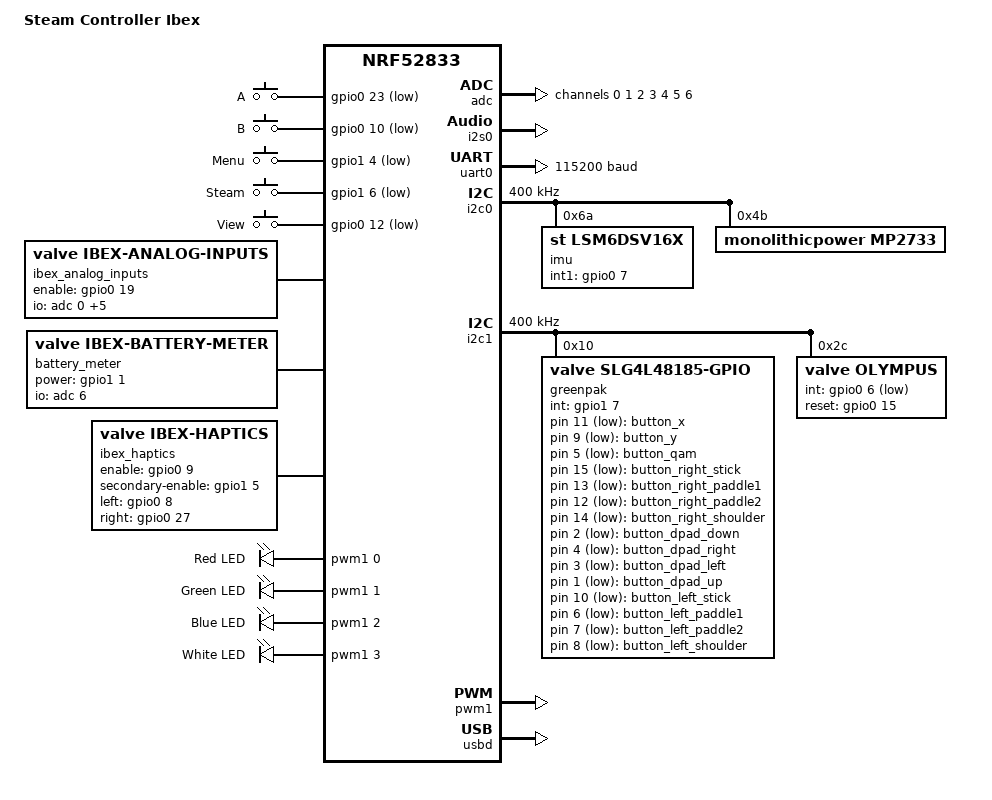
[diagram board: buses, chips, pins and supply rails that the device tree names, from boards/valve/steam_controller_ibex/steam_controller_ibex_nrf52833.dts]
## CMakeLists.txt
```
# SPDX-License-Identifier: AGPL-3.0-or-later

cmake_minimum_required(VERSION 3.20.0)

list(APPEND BOARD_ROOT ${CMAKE_CURRENT_SOURCE_DIR})

find_package(Zephyr REQUIRED HINTS $ENV{ZEPHYR_BASE})
project(steam_controller)

target_sources(app PRIVATE
	src/battery.c
	src/calibration.c
	src/charge_mode.c
	src/hardware.c
	src/haptics.c
	src/ibex_settings_registry.c
	src/imu.c
	src/lizard.c
	src/main.c
	src/boot_guard.c
	src/power.c
	src/puck_interface.c
	src/radio_personality.c
	src/transport.c
	src/valve_feature.c
	src/valve_hid_report_map.c
	src/valve_identity.c
	src/valve_settings.c
	src/sc26re_cfg.c
	src/gyro_mouse.c
	src/remap.c
	src/xinput.c
	src/xinput_guide.c
	src/stick_test.c
)

target_sources_ifdef(CONFIG_IBEX_HWTEST app PRIVATE src/hwtest.c)
target_sources_ifdef(CONFIG_HAPTICS_PWM_NRF app PRIVATE src/haptics_pwm_nrf.c)
if(CONFIG_IBEX_HAPTICS_PWM)
	set(IBEX_HAPTICS_WAVEFORMS_H ${PROJECT_BINARY_DIR}/generated/haptics_waveforms.h)

	add_custom_command(
		OUTPUT ${IBEX_HAPTICS_WAVEFORMS_H}
		COMMAND ${PYTHON_EXECUTABLE}
			${CMAKE_CURRENT_SOURCE_DIR}/../scripts/haptics-wav-to-header.py
			--output ${IBEX_HAPTICS_WAVEFORMS_H}
			--input haptics_waveform_tick=${CMAKE_CURRENT_SOURCE_DIR}/assets/haptics/tick.wav
			--input haptics_waveform_click=${CMAKE_CURRENT_SOURCE_DIR}/assets/haptics/click.wav
			--input haptics_waveform_scream=${CMAKE_CURRENT_SOURCE_DIR}/assets/haptics/scream.wav
			--input haptics_waveform_meow=${CMAKE_CURRENT_SOURCE_DIR}/assets/haptics/meow.wav
		DEPENDS
			${CMAKE_CURRENT_SOURCE_DIR}/../scripts/haptics-wav-to-header.py
			${CMAKE_CURRENT_SOURCE_DIR}/assets/haptics/tick.wav
			${CMAKE_CURRENT_SOURCE_DIR}/assets/haptics/click.wav
			${CMAKE_CURRENT_SOURCE_DIR}/assets/haptics/scream.wav
			${CMAKE_CURRENT_SOURCE_DIR}/assets/haptics/meow.wav
		COMMENT "Generating Ibex haptics waveform header"
		VERBATIM
	)
	add_custom_target(ibex_haptics_waveforms DEPENDS ${IBEX_HAPTICS_WAVEFORMS_H})
	add_dependencies(app ibex_haptics_waveforms)
	target_include_directories(app PRIVATE ${PROJECT_BINARY_DIR}/generated)
	target_sources(app PRIVATE src/haptics_pwm_ibex.c)
endif()
target_sources_ifdef(CONFIG_IBEX_ANALOG_INPUTS app PRIVATE src/analog.c)
target_sources_ifdef(CONFIG_IBEX_OLYMPUS app PRIVATE src/olympus.c)
target_sources_ifdef(CONFIG_SHELL app PRIVATE src/shell.c)
target_sources_ifdef(CONFIG_IBEX_SHELL_ZMODEM app PRIVATE src/zmodem.c src/shell_zmodem.c)
target_sources_ifdef(CONFIG_IBEX_BLE app PRIVATE src/transport_ble.c)
target_sources_ifdef(CONFIG_IBEX_USB_HID app PRIVATE src/transport_usb.c)
target_sources_ifdef(CONFIG_IBEX_ESB app PRIVATE src/transport_esb.c)
target_sources_ifdef(CONFIG_IBEX_ESB app PRIVATE src/esb_backend_direct.c)
target_sources_ifdef(CONFIG_IBEX_RGBW_LED app PRIVATE src/rgbw_led.c)
target_sources_ifdef(CONFIG_GPIO_GREENPAK app PRIVATE drivers/gpio/gpio_greenpak.c)
target_sources_ifdef(CONFIG_BOARD_STEAM_CONTROLLER_IBEX app PRIVATE src/valve_nvs.c)

# release name for update checks (the SC2 Overlay app): the newest docs/releases/vX.md
file(GLOB SC26RE_RELEASE_NOTES "${CMAKE_CURRENT_SOURCE_DIR}/../docs/releases/v*.md")
set(SC26RE_RELEASE "v0")
set(SC26RE_RELEASE_KEY 0)
foreach(f ${SC26RE_RELEASE_NOTES})
	get_filename_component(n "${f}" NAME_WLE)
	if(n MATCHES "^v([0-9]+)(\\.([0-9]+))?(\\.([0-9]+))?$")
		set(minor 0)
		set(patch 0)
		if(CMAKE_MATCH_3)
			set(minor ${CMAKE_MATCH_3})
		endif()
		if(CMAKE_MATCH_5)
			set(patch ${CMAKE_MATCH_5})
		endif()
		math(EXPR key "${CMAKE_MATCH_1} * 1000000 + ${minor} * 1000 + ${patch}")
		if(key GREATER SC26RE_RELEASE_KEY)
			set(SC26RE_RELEASE_KEY ${key})
			set(SC26RE_RELEASE "${n}")
		endif()
	endif()
endforeach()
target_compile_definitions(app PRIVATE SC26RE_RELEASE="${SC26RE_RELEASE}")

if(CONFIG_BOARD_STEAM_CONTROLLER_IBEX)
	string(REGEX REPLACE "^0[xX]" "" IBEX_FW_TIMESTAMP "${CONFIG_IBEX_BUILD_TIMESTAMP}")
	string(TOUPPER "${IBEX_FW_TIMESTAMP}" IBEX_FW_TIMESTAMP)
	set(IBEX_FW_NAME "IBEX_CUSTOM_${IBEX_FW_TIMESTAMP}.fw")
	set(IBEX_FW_PATH "${PROJECT_BINARY_DIR}/zephyr/${IBEX_FW_NAME}")

	add_custom_target(ibex_fw ALL
		COMMAND ${PYTHON_EXECUTABLE}
			${CMAKE_CURRENT_SOURCE_DIR}/../scripts/package-ibex-fw.py
			--input ${PROJECT_BINARY_DIR}/zephyr/${KERNEL_BIN_NAME}
			--elf ${PROJECT_BINARY_DIR}/zephyr/${KERNEL_ELF_NAME}
			--output ${IBEX_FW_PATH}
		DEPENDS zephyr_final
		BYPRODUCTS
			${IBEX_FW_PATH}
		COMMENT "Packaging Valve Ibex firmware container"
		VERBATIM
	)
endif()
```

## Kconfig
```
# SPDX-License-Identifier: AGPL-3.0-or-later

mainmenu "SC26re firmware"

menu "SC26re application"

config IBEX_BUILD_TIMESTAMP
	hex "Firmware build timestamp"
	default 0xf0550000
	help
	  Value exposed through the build_timestamp numeric attribute and used in
	  the packaged Ibex firmware filename. Makefile builds default this to
	  0xf0550000 plus the repository build number.

config IBEX_STOCK_VERSION_TIMESTAMP
	hex "Stock firmware version reported to Steam"
	default 0x6ae90bc5
	help
	  Build timestamp of the Valve stock firmware sc26re matches (6AE90BC5). Reported over
	  wireless and in the version attribute; if it is older than the firmware bundled with
	  Steam, Steam asks for a firmware update every time the controller connects.

config IBEX_STOCK_VERSION_SHA
	string "Stock firmware git SHA reported to Steam"
	default "1c979e4f05d6"

config IBEX_FIRMWARE_IDENTITY
	string "Custom firmware identity"
	default "SC26re"
	help
	  Human-readable identity embedded in the application and shown by the
	  status shell command.

config GPIO_GREENPAK
	bool "Valve GreenPAK input GPIO driver"
	default y if DT_HAS_VALVE_SLG4L48185_GPIO_ENABLED
	depends on GPIO && I2C && DT_HAS_VALVE_SLG4L48185_GPIO_ENABLED
	help
	  GPIO controller for the SLG4L48185 used by the Ibex board. This
	  implements only GPIO input and does not program GreenPAK config
	  NVM (which is probably done at the factory anyway).

config IBEX_BLE
	bool "Bluetooth LE HID transport"
	default y
	depends on BT
	select BT_GATT_CLIENT
	help
	  Include the Bluetooth HID transport for BLE support.

config IBEX_USB_HID
	bool "USB HID transport"
	default y if BOARD_STEAM_CONTROLLER_IBEX
	depends on BOARD_STEAM_CONTROLLER_IBEX && USBD_HID_SUPPORT && !IBEX_USB_CDC_ONLY
	help
	  Include the USB HID transport for Valve HID support over USB.

if IBEX_USB_HID

config IBEX_USB_VID
	hex "USB vendor ID"
	default 0x28de

config IBEX_USB_PID
	hex "USB product ID"
	default 0x1302

config IBEX_USB_MANUFACTURER
	string "USB manufacturer string"
	default "Valve Corporation"

config IBEX_USB_PRODUCT
	string "USB product string"
	default "SC26RE-1kHz"

endif

config IBEX_USB_CDC_ONLY
	bool "Use USB only for the CDC-ACM shell"
	default n
	depends on BOARD_STEAM_CONTROLLER_IBEX && USB_DEVICE_STACK_NEXT
	help
	  Diagnostic mode for radio bring-up: enumerate only the CDC-ACM shell
	  over USB, with no Valve HID interface. This keeps Steam from opening
	  the USB controller while the shell can be used over the USB cable.

config IBEX_PUCK_INTERFACE
	bool "Ibex puck UART interface"
	default y if BOARD_STEAM_CONTROLLER_IBEX
	depends on BOARD_STEAM_CONTROLLER_IBEX && SERIAL
	select UART_INTERRUPT_DRIVEN
	help
	  Service the Ibex charging puck UART protocol on UARTE0.

config IBEX_ESB
	bool "Enhanced ShockBurst transport (puck support)"
	default n
	depends on SOC_NRF52833
	select ENTROPY_GENERATOR
	select DYNAMIC_INTERRUPTS if IBEX_BLE && BT_LL_SW_SPLIT
	select DYNAMIC_DIRECT_INTERRUPTS if IBEX_BLE && BT_LL_SW_SPLIT
	select BT_CTLR_DYNAMIC_INTERRUPTS if IBEX_BLE && BT_LL_SW_SPLIT
	help
	  Include the ESB transport for Valve HID support over Enhanced ShockBurst.
	  Also known as "puck support".

config IBEX_ACCELEROMETER
	bool "Include accelerometer data when accel0 is available"
	default y
	depends on SENSOR && DT_HAS_ST_LSM6DSV16X_ENABLED
	help
	  Include Ibex LSM6DSV16X FIFO and SFLP motion reports. Zephyr 4.4's
	  asynchronous sensor API is used to consume accelerometer, gyroscope,
	  game-rotation-vector, and gyroscope-bias frames.

config IBEX_IMU_WAKES_REPORT
	bool "Wake the report loop on every fresh gyro sample (USB only)"
	default y
	depends on IBEX_ACCELEROMETER
	help
	  Signal the input-changed semaphore after each FIFO batch that carried a
	  gyro frame, so USB reports carry fresh IMU data at the IMU batch rate.

config IBEX_IMU_I2C_FREQ_KHZ
	int "Force the IMU I2C bus rate (kHz)"
	default 400
	range 100 1000
	help
	  400 keeps the devicetree rate. Other values write the nRF TWIM
	  FREQUENCY register directly; anything above 400 is undocumented on
	  nRF52833 (1000 crashed a controller in testing, 800 worked).

config IBEX_IMU_DEBUG_IN_QUAT
	bool "Diagnostics: report IMU pipeline timing in the quaternion fields"
	depends on IBEX_ACCELEROMETER
	help
	  w = IRQ-to-processing latency (us), x = batch build time (us),
	  y = batch period (us), z = gyro frames per batch x100. Averages over
	  256 batches. For measurement builds only.

config IBEX_HWTEST
	bool "Remapper hardware test (test builds only, off for releases)"
	default n
	help
	  The hardware test page plays a script of inputs (RAM only, at most
	  10 s, stopped by the Steam button) and reads back the remapper's
	  output. Turn off for release builds.

config IBEX_ANALOG_STAY_POWERED_ON_USB
	bool "Keep the stick/trigger supply on between scans while on USB"
	default y
	depends on IBEX_ANALOG_INPUTS
	help
	  Skips the 200 us power-up settle per report over USB.

config IBEX_TRIGGER_LOCK_HOST_MODE
	bool "Steam's raw trigger modes carry sc26re's own trigger result"
	default y
	depends on IBEX_ANALOG_INPUTS
	help
	  When Steam switches trigger_mode to 1 (mV) or 2 (raw counts) to apply its
	  own calibration, send the value that maps to sc26re's processed trigger
	  (rest auto-zero, filter, dead zone) instead of the raw reading.

config IBEX_TRIGGER_LOCK_HOST_CAL
	bool "Ignore trigger calibration records written by the host"
	default y
	help
	  Steam's STAGE/COMMIT of cal/trg_l and cal/trg_r are accepted but not
	  applied. Calibration from the report meter (0xC0 step calibration and
	  zero) and the hard reset still work.

config IBEX_ANALOG_USB_SAMPLES
	int "Stick/trigger SAADC samples averaged per report over USB"
	default 1
	range 1 4
	depends on IBEX_ANALOG_INPUTS
	help
	  Battery/wireless keeps 4. Each extra round adds SAADC time to every
	  report-loop iteration.

config IBEX_USB_REPORT_POLL_US
	int "Report loop poll period while USB is configured (us)"
	default 1000
	range 250 4000
	help
	  Upper bound on the time between report-loop iterations over USB. Stock
	  sc26re uses 4000 us everywhere; wireless links keep 4000 us.

config IBEX_ANALOG_INPUTS
	bool "Include Ibex stick and trigger ADC inputs"
	default y if BOARD_STEAM_CONTROLLER_IBEX
	depends on ADC
	help
	  Scan the six Ibex SAADC channels and include them in HID reports.

config IBEX_OLYMPUS
	bool "Include Ibex Olympus touchpads"
	default y if BOARD_STEAM_CONTROLLER_IBEX
	depends on I2C && GPIO && DT_HAS_VALVE_OLYMPUS_ENABLED
	help
	  Configure the Olympus touch controller and include touchpad data in HID reports.

config IBEX_SHELL_ZMODEM
	bool "ZMODEM shell downloads"
	default y if IBEX_OLYMPUS
	depends on SHELL
	help
	  Send binary dumps to a terminal's ZMODEM receiver. Enables the
	  `olympus dump` command when Olympus is available.

config SHELL_BACKEND_SERIAL_TX_RING_BUFFER_SIZE
	default 256 if IBEX_SHELL_ZMODEM

config HAPTICS_PWM_NRF
	bool "nRF PWM button beep backend"
	default y if BOARD_BBC_MICROBIT_V2
	depends on PWM
	help
	  Short debug beep on button press through the micro:bit piezo.

config IBEX_HAPTICS_PWM
	bool "Ibex haptics PWM/I2S backend"
	default y
	depends on BOARD_STEAM_CONTROLLER_IBEX && DT_HAS_VALVE_IBEX_HAPTICS_ENABLED
	select FPU
	select FPU_SHARING
	select NRFX_PWM
	select I2S
	help
	  Haptics backend for the genuine Ibex touchpad actuators and the
	  secondary Gri-v3 I2S actuator path.

config IBEX_RGBW_LED
	bool "RGBW LED control"
	default y if BOARD_STEAM_CONTROLLER_IBEX
	depends on LED && PWM
	help
	  Control the four-channel RGBW LED on the controller face.

config IBEX_BATTERY
	bool "Ibex battery and charger reporting"
	default y if DT_HAS_MONOLITHICPOWER_MP2733_ENABLED
	depends on I2C && IBEX_ANALOG_INPUTS
	depends on DT_HAS_MONOLITHICPOWER_MP2733_ENABLED
	depends on DT_HAS_VALVE_IBEX_BATTERY_METER_ENABLED
	help
	  Poll the MP2733 charger and the switched battery-voltage divider, then
	  expose battery level over HID/BLE BAS.


config IBEX_STICK_TOUCH_PRESS
	int "Forced stick touch (press) threshold, 0 = use host setting"
	range 0 16000
	default 720
	help
	  Raw capacitive value the stick must exceed to report a touch.
	  Higher = less sensitive (ignores hovering fingers). Stock 500.

config IBEX_STICK_TOUCH_RELEASE
	int "Forced stick touch release threshold, 0 = 80% of press"
	range 0 16000
	default 0

config IBEX_HAPTICS_TRIGGERS_ON_GRIPS
	bool "Play Steam trigger haptics on the grip actuators instead of the trackpads"
	default y
	help
	  While a trigger is pulled (and 150 ms after release) and the trackpad on the
	  same side is not touched, haptic pulses/commands aimed at that side's trackpad
	  actuator are sent to the grip actuator of that side instead.

config IBEX_DROP_SCREAM
	bool "Stock drop easter egg: Wilhelm scream / meow when the controller falls"
	default y
	help
	  Port of OFW 6AE90BC5: on a detected free fall play the Wilhelm scream (script 16)
	  or the meow (script 17) with the chances below, otherwise nothing.
	  Needs the IMU stream to be running.

config IBEX_DROP_SCREAM_PERCENT
	int "Chance of the Wilhelm scream on a drop (%)"
	default 50
	range 0 100
	depends on IBEX_DROP_SCREAM
	help
	  Stock is about 19%.

config IBEX_DROP_MEOW_PERCENT
	int "Chance of the meow on a drop (%)"
	default 50
	range 0 100
	depends on IBEX_DROP_SCREAM
	help
	  Stock is about 31%. Scream + meow above 100% means a sound on every drop.

config IBEX_DROP_FREE_FALL_MS
	int "Free-fall time before the drop sound (ms)"
	default 260
	depends on IBEX_DROP_SCREAM
	help
	  OFW uses FF_DUR 63 IMU samples; at the stock accel rate that is about a quarter second.

config IBEX_HAPTICS_POWER_SOUNDS
	bool "Play the stock power-on / power-off chimes on the grip actuators"
	default y
	help
	  Ports OFW 6AE90BC5 system sounds: rising chime (script 1) at power-on and
	  falling chime (script 5) at power-off, level from user/haptic_boot_level.

config IBEX_DOCK_CHARGE_LED
	bool "Show the charge animation on the LED while the running controller sits on the Puck"
	default y
	depends on IBEX_RGBW_LED

config IBEX_HAPTICS_TRIGGER_GRIP_BOOST_DB
	int "Extra gain (dB) for trigger haptics moved to the grips"
	range -12 12
	default 4

config IBEX_HAPTICS_GYRO_ON_GRIPS
	bool "Play Steam gyro haptics on the grip actuators instead of the trackpads"
	default y
	help
	  While the controller is being turned (> ~20 dps, and 150 ms after) and the
	  trackpad on a side is either not touched or the finger rests still on it
	  (touch-to-enable gyro), haptics aimed at that trackpad go to the grip on
	  the same side.

config IBEX_HAPTICS_GRIP_TICK_HZ
	int "Tick/click on grip actuators: sine burst frequency, 0 = trackpad waveform"
	range 0 1000
	default 150

config IBEX_HAPTICS_GRIP_TICK_MS
	int "Tick/click on grip actuators: burst length in ms"
	range 2 60
	default 12

config IBEX_HAPTICS_GRIP_TICK_GAIN_DB
	int "Tick/click on grip actuators: gain offset in dB"
	range -48 24
	default -12

config IBEX_HAPTICS_GRIP_TICK_GAIN_SCALE_PCT
	int "Tick/click on grip actuators: percent of Steam's gain range kept (dB scale)"
	range 10 100
	default 50

config IBEX_HAPTICS_GYRO_GRIP_LEVELS
	bool "Map Steam Rotational Haptics Low/Medium/High to fixed grip levels"
	depends on IBEX_HAPTICS_GRIP_TICK_HZ > 0
	default y
	help
	  Ticks that end up on the grip actuators get one of three fixed levels (dB re
	  full scale), chosen by which Steam level (nearest dB) was sent.

config IBEX_HAPTICS_GYRO_STEAM_LOW_DB
	int "Steam gain sent for Rotational Haptics = Low"
	default -9
config IBEX_HAPTICS_GYRO_STEAM_MEDIUM_DB
	int "Steam gain sent for Rotational Haptics = Medium"
	default -6
config IBEX_HAPTICS_GYRO_STEAM_HIGH_DB
	int "Steam gain sent for Rotational Haptics = High"
	default -3
config IBEX_HAPTICS_GYRO_GRIP_LOW_DB
	int "Grip level for Low"
	default -25
config IBEX_HAPTICS_GYRO_GRIP_MEDIUM_DB
	int "Grip level for Medium"
	default -15
config IBEX_HAPTICS_GYRO_GRIP_HIGH_DB
	int "Grip level for High"
	default -5

config IBEX_TRIGGER_DEBUG_IN_QUAT
	bool "Diagnostics: trigger raw mV and active calibration in the quaternion fields"

config IBEX_HAPTICS_PCM_DEBUG_IN_QUAT
	bool "Diagnostics: PCM haptic stream counters per second in the quaternion fields"
	depends on !IBEX_HAPTICS_DEBUG_IN_QUAT
	help
	  w = PCM sample bytes received, x = PCM messages dropped (queue full),
	  y = bytes dropped because the ring was full, z = underruns (ring ran empty).

config IBEX_HAPTICS_DEBUG_IN_QUAT
	bool "Diagnostics: report received haptic output reports in the quaternion fields"
	help
	  Ring of the last 16 haptic output reports: w = sequence, x = report id |
	  side << 8, y = payload bytes 1..2, z = byte 3 | redirect state flags << 8.

config IBEX_GRIP_TOUCH_PERCENT
	int "Default grip touch sensitivity (setting 34), threshold = 225 + 9 * value"
	range 25 400
	default 75
	help
	  Stock is 100 (threshold 1125). Measured grip values while holding the
	  controller sit around 1000, so the stock threshold can miss a grip.
	  75 gives touch at 900 and release at 720 (80%).


config IBEX_ESB_IMPORT_OFW_BONDS
	bool "Use Puck bonds stored by the original firmware when CFW has none"
	default y
	help
	  Reads esb/bond, esb/bond_2 and user/wireless_transport from the
	  original firmware's storage (read-only) when the CFW settings area,
	  which the bootloader erases on every flash, holds no bond.


config IBEX_ESB_REPORT_POLL_US
	int "Report loop period while connected to the Puck (us)"
	range 500 4000
	default 1000
	help
	  The Puck polls every 4 ms (fixed in its firmware). A faster loop does not
	  add reports, but with IBEX_ESB_REPLACE_STALE_INPUT each poll gets a report
	  at most this old instead of up to one poll interval old.

config IBEX_ESB_REPLACE_STALE_INPUT
	bool "Overwrite not-yet-sent input ACK payloads with the newest report"
	default y

config IBEX_ESB_DEBUG_IN_QUAT
	bool "Puck link rates in the quaternion fields (diagnostics)"
	default n


config IBEX_ANALOG_FAST_ON_ESB
	bool "Use the fast analog scan (supply kept on, fewer SAADC rounds) on the Puck link"
	default y
	help
	  Without it a report-loop pass on the Puck link takes ~1.5 ms (supply
	  settle + 4 SAADC rounds), which caps the controller at ~400 reports/s.
	  Costs a little battery: the stick/trigger supply stays on while connected.


config IBEX_LED_USER_BRIGHTNESS
	bool "Scale the RGBW LED by Steam's LED brightness setting (45)"
	default y


config IBEX_OLYMPUS_FRAME_PERIOD_MS
	int "Trackpad (Olympus) frame period in ms (stock 4 = 250 Hz)"
	range 1 20
	default 1
	help
	  The controller is limited by its measurement time to ~305 frames/s
	  with the stock measurement profile, so 1 means "as fast as it can".

config IBEX_OLYMPUS_LOW_POWER
	bool "Trackpad controller low_power_mode flag (stock 1)"
	default y
	help
	  Measured: with 1 the controller runs ~100 frames/s idle and ~305 touched;
	  with 0 only ~43 idle and ~273 touched. Keep the stock value.

config IBEX_OLYMPUS_SINGLE_READ
	bool "Read trackpad header + payload in one I2C transfer"
	default y

config IBEX_OLYMPUS_I2C_FREQ_KHZ
	int "Force the trackpad I2C bus (i2c1) frequency in kHz (400 = DT default)"
	range 100 1000
	default 800
	help
	  800 is undocumented on nRF52833 TWIM but ran error-free on hardware and
	  raised touched trackpad frames from ~273 to ~305 per second.


config IBEX_OLYMPUS_DEBUG_IN_QUAT
	bool "Trackpad controller frame rates in the quaternion fields (diagnostics)"
	default n


config IBEX_OLYMPUS_NOISE_APERTURE
	int "Aperture of the two noise-sense measurements (0 = stock 0x27 = 39)"
	range 0 63
	default 0
	help
	  Experimental: shorter noise measurements shorten every trackpad frame.


config IBEX_CAPSENSE_DEBUG_IN_QUAT
	bool "Raw stick-touch and grip values in the quaternion fields (diagnostics)"
	default n


config IBEX_OLYMPUS_TIMING_IN_QUAT
	bool "Trackpad frame timing (interval/read/process/latency us) in the quaternion fields"
	default n


config IBEX_OLYMPUS_THREAD_PRIORITY
	int "Trackpad (Olympus) thread priority (stock 9; lower = more urgent)"
	range 1 14
	default 9


config IBEX_BUTTON_DEBOUNCE_MS
	int "Button debounce lock-out in ms (OFW 6ACFF323 uses 16, 0 = off)"
	range 0 50
	default 16

endmenu

source "Kconfig.zephyr"
```

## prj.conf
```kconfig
# SPDX-License-Identifier: AGPL-3.0-or-later

CONFIG_GPIO=y
CONFIG_ADC=y
CONFIG_PWM=y
CONFIG_LED=y
CONFIG_SENSOR=y
CONFIG_HWINFO=y

CONFIG_LOG=y
# warnings and errors only: the info lines went to a USB console nobody reads and took
# ~17 KB of flash (v51.5)
CONFIG_LOG_DEFAULT_LEVEL=2

CONFIG_FLASH=y
CONFIG_FLASH_MAP=y
CONFIG_FILE_SYSTEM=y
CONFIG_NVS=y
CONFIG_SETTINGS=y

CONFIG_REBOOT=y
CONFIG_POWEROFF=y

# the serial shell is a development tool: off in releases (frees ~30 KB for the remapper)
CONFIG_SHELL=n

CONFIG_MAIN_STACK_SIZE=2048
CONFIG_MAIN_THREAD_PRIORITY=10
CONFIG_SYSTEM_WORKQUEUE_STACK_SIZE=2048

# 1 kHz IMU path: no FIFO timestamp words (times come from the read timestamp)
CONFIG_LSM6DSV16X_STREAM_FIFO_TIMESTAMP=n
# I2C RTIO transfers run on the RTIO work queue; at the default priority 10 they
# queued behind the report loop (main, 10) and added ~1 ms to every FIFO read.
CONFIG_RTIO_WORKQ_THREADS_POOL_PRIO=2
# IMU reads paced by USB frames (imu_pace 0)
CONFIG_UDC_ENABLE_SOF=y
# SOF events share the queue with transfers; room for bursts
CONFIG_USBD_MAX_UDC_MSG=32
# saving Live settings (NVS) runs in the USB thread: 1024 overflowed
CONFIG_USBD_THREAD_STACK_SIZE=2048
```

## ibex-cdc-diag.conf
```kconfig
# SPDX-License-Identifier: AGPL-3.0-or-later

# Diagnostic build: keep only the CDC-ACM shell over USB. Do not enumerate
# Valve USB HID, so Steam cannot route inputs over USB while radio logs are
# captured on the same cable.
CONFIG_IBEX_USB_CDC_ONLY=y
CONFIG_IBEX_USB_HID=n
CONFIG_USBD_HID_SUPPORT=n
CONFIG_CDC_ACM_SERIAL_INITIALIZE_AT_BOOT=y
CONFIG_CDC_ACM_SERIAL_ENABLE_AT_BOOT=y
CONFIG_CDC_ACM_SERIAL_VID=0x28de
CONFIG_CDC_ACM_SERIAL_PID=0x1304
CONFIG_CDC_ACM_SERIAL_MANUFACTURER_STRING="Valve Corporation"
CONFIG_CDC_ACM_SERIAL_PRODUCT_STRING="SC26RE-1kHz CDC diag"
```

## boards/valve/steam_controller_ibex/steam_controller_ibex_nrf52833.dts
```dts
/* SPDX-License-Identifier: AGPL-3.0-or-later */

/dts-v1/;

#include <nordic/nrf52833_qiaa.dtsi>
#include "steam_controller_ibex_nrf52833-pinctrl.dtsi"
#include <zephyr/dt-bindings/adc/adc.h>
#include <zephyr/dt-bindings/adc/nrf-adc.h>
#include <zephyr/dt-bindings/input/input-event-codes.h>
#include <zephyr/dt-bindings/pwm/pwm.h>
#include <zephyr/dt-bindings/sensor/lsm6dsv16x.h>

/ {
	model = "Steam Controller Ibex";
	compatible = "valve,steam-controller-ibex";

	aliases {
		button-a = &button_a;
		button-b = &button_b;
		button-x = &button_x;
		button-y = &button_y;
		button-qam = &button_qam;
		button-right-stick = &button_right_stick;
		button-view = &button_menu;
		button-right-paddle1 = &button_right_paddle1;
		button-right-paddle2 = &button_right_paddle2;
		button-right-shoulder = &button_right_shoulder;
		button-dpad-down = &button_dpad_down;
		button-dpad-right = &button_dpad_right;
		button-dpad-left = &button_dpad_left;
		button-dpad-up = &button_dpad_up;
		button-menu = &button_left_view;
		button-left-stick = &button_left_stick;
		button-steam = &button_steam;
		button-left-paddle1 = &button_left_paddle1;
		button-left-paddle2 = &button_left_paddle2;
		button-left-shoulder = &button_left_shoulder;
		accel0 = &imu;
		watchdog0 = &wdt0;
	};

	chosen {
		zephyr,console = &cdc_acm_uart0;
		zephyr,shell-uart = &cdc_acm_uart0;
		zephyr,sram = &sram0;
		zephyr,flash = &flash0;
		zephyr,code-partition = &application_partition;
	};

	buttons {
		compatible = "gpio-keys";

		button_a: button_a {
			label = "A";
			gpios = <&gpio0 23 (GPIO_PULL_UP | GPIO_ACTIVE_LOW)>;
			zephyr,code = <INPUT_BTN_SOUTH>;
		};

		button_b: button_b {
			label = "B";
			gpios = <&gpio0 10 (GPIO_PULL_UP | GPIO_ACTIVE_LOW)>;
			zephyr,code = <INPUT_BTN_EAST>;
		};

		button_menu: button_menu {
			label = "Menu";
			gpios = <&gpio1 4 (GPIO_PULL_UP | GPIO_ACTIVE_LOW)>;
			zephyr,code = <INPUT_KEY_MENU>;
		};

		button_steam: button_steam {
			label = "Steam";
			gpios = <&gpio1 6 (GPIO_PULL_UP | GPIO_ACTIVE_LOW)>;
			zephyr,code = <INPUT_KEY_HOME>;
		};

		button_left_view: button_left_view {
			label = "View";
			gpios = <&gpio0 12 (GPIO_PULL_UP | GPIO_ACTIVE_LOW)>;
			zephyr,code = <INPUT_KEY_BACK>;
		};
	};

	greenpak_buttons {
		compatible = "gpio-keys";

		button_x: button_x {
			gpios = <&greenpak 11 GPIO_ACTIVE_LOW>;
			zephyr,code = <INPUT_BTN_WEST>;
		};

		button_y: button_y {
			gpios = <&greenpak 9 GPIO_ACTIVE_LOW>;
			zephyr,code = <INPUT_BTN_NORTH>;
		};

		button_qam: button_qam {
			gpios = <&greenpak 5 GPIO_ACTIVE_LOW>;
			zephyr,code = <INPUT_BTN_MODE>;
		};

		button_right_stick: button_right_stick {
			gpios = <&greenpak 15 GPIO_ACTIVE_LOW>;
			zephyr,code = <INPUT_BTN_THUMBR>;
		};

		button_right_paddle1: button_right_paddle1 {
			gpios = <&greenpak 13 GPIO_ACTIVE_LOW>;
			zephyr,code = <INPUT_BTN_5>;
		};

		button_right_paddle2: button_right_paddle2 {
			gpios = <&greenpak 12 GPIO_ACTIVE_LOW>;
			zephyr,code = <INPUT_BTN_6>;
		};

		button_right_shoulder: button_right_shoulder {
			gpios = <&greenpak 14 GPIO_ACTIVE_LOW>;
			zephyr,code = <INPUT_BTN_TR>;
		};

		button_dpad_down: button_dpad_down {
			gpios = <&greenpak 2 GPIO_ACTIVE_LOW>;
			zephyr,code = <INPUT_BTN_DPAD_DOWN>;
		};

		button_dpad_right: button_dpad_right {
			gpios = <&greenpak 4 GPIO_ACTIVE_LOW>;
			zephyr,code = <INPUT_BTN_DPAD_RIGHT>;
		};

		button_dpad_left: button_dpad_left {
			gpios = <&greenpak 3 GPIO_ACTIVE_LOW>;
			zephyr,code = <INPUT_BTN_DPAD_LEFT>;
		};

		button_dpad_up: button_dpad_up {
			gpios = <&greenpak 1 GPIO_ACTIVE_LOW>;
			zephyr,code = <INPUT_BTN_DPAD_UP>;
		};

		button_left_stick: button_left_stick {
			gpios = <&greenpak 10 GPIO_ACTIVE_LOW>;
			zephyr,code = <INPUT_BTN_THUMBL>;
		};

		button_left_paddle1: button_left_paddle1 {
			gpios = <&greenpak 6 GPIO_ACTIVE_LOW>;
			zephyr,code = <INPUT_BTN_7>;
		};

		button_left_paddle2: button_left_paddle2 {
			gpios = <&greenpak 7 GPIO_ACTIVE_LOW>;
			zephyr,code = <INPUT_BTN_8>;
		};

		button_left_shoulder: button_left_shoulder {
			gpios = <&greenpak 8 GPIO_ACTIVE_LOW>;
			zephyr,code = <INPUT_BTN_TL>;
		};
	};

	ibex_analog_inputs {
		compatible = "valve,ibex-analog-inputs";
		enable-gpios = <&gpio0 19 GPIO_ACTIVE_HIGH>;
		io-channels = <&adc 0>, <&adc 1>, <&adc 2>,
			      <&adc 3>, <&adc 4>, <&adc 5>;
		io-channel-names = "stick-left-x", "stick-left-y",
				   "stick-right-x", "stick-right-y",
				   "trigger-left", "trigger-right";
	};

	battery_meter: battery_meter {
		compatible = "valve,ibex-battery-meter";
		io-channels = <&adc 6>;
		output-ohms = <301000>;
		full-ohms = <522000>;
		power-gpios = <&gpio1 1 GPIO_ACTIVE_HIGH>;
		/* OFW 0x39730 enables the divider; 0x33c96 waits this long before sampling. */
		power-on-sample-delay-us = <5000>;
	};

	ibex_haptics: ibex_haptics {
		compatible = "valve,ibex-haptics";
		enable-gpios = <&gpio0 9 (GPIO_ACTIVE_HIGH | GPIO_PULL_DOWN)>;
		secondary-enable-gpios = <&gpio1 5 GPIO_ACTIVE_HIGH>;
		/* OFW touchpad haptics: left0 is PWM0 OUT2, right0 is PWM0 OUT0. */
		left-gpios = <&gpio0 8 GPIO_ACTIVE_HIGH>;
		right-gpios = <&gpio0 27 GPIO_ACTIVE_HIGH>;
		left-channel = <2>;
		right-channel = <0>;
		status = "okay";
	};

	hid_dev_0: hid_dev_0 {
		compatible = "zephyr,hid-device";
		in-report-size = <64>;
		in-polling-period-us = <1000>;
		out-report-size = <64>;
		out-polling-period-us = <1000>;
	};

	pwmrgbleds: pwmrgbleds {
		compatible = "pwm-leds";

		led_red: led_red {
			pwms = <&pwm1 0 PWM_HZ(20000) PWM_POLARITY_INVERTED>;
			label = "Red LED";
		};

		led_green: led_green {
			pwms = <&pwm1 1 PWM_HZ(20000) PWM_POLARITY_INVERTED>;
			label = "Green LED";
		};

		led_blue: led_blue {
			pwms = <&pwm1 2 PWM_HZ(20000) PWM_POLARITY_INVERTED>;
			label = "Blue LED";
		};

		led_white: led_white {
			pwms = <&pwm1 3 PWM_HZ(20000) PWM_POLARITY_INVERTED>;
			label = "White LED";
		};
	};
};

&adc {
	status = "okay";
	#address-cells = <1>;
	#size-cells = <0>;

	channel@0 {
		reg = <0>;
		zephyr,gain = "ADC_GAIN_1_4";
		zephyr,reference = "ADC_REF_VDD_1_4";
		zephyr,acquisition-time = <ADC_ACQ_TIME(ADC_ACQ_TIME_MICROSECONDS, 3)>;
		zephyr,input-positive = <NRF_SAADC_AIN4>;
		zephyr,vref-mv = <825>;
		zephyr,resolution = <12>;
	};

	channel@1 {
		reg = <1>;
		zephyr,gain = "ADC_GAIN_1_4";
		zephyr,reference = "ADC_REF_VDD_1_4";
		zephyr,acquisition-time = <ADC_ACQ_TIME(ADC_ACQ_TIME_MICROSECONDS, 3)>;
		zephyr,input-positive = <NRF_SAADC_AIN1>;
		zephyr,vref-mv = <825>;
		zephyr,resolution = <12>;
	};

	channel@2 {
		reg = <2>;
		zephyr,gain = "ADC_GAIN_1_4";
		zephyr,reference = "ADC_REF_VDD_1_4";
		zephyr,acquisition-time = <ADC_ACQ_TIME(ADC_ACQ_TIME_MICROSECONDS, 3)>;
		zephyr,input-positive = <NRF_SAADC_AIN7>;
		zephyr,vref-mv = <825>;
		zephyr,resolution = <12>;
	};

	channel@3 {
		reg = <3>;
		zephyr,gain = "ADC_GAIN_1_4";
		zephyr,reference = "ADC_REF_VDD_1_4";
		zephyr,acquisition-time = <ADC_ACQ_TIME(ADC_ACQ_TIME_MICROSECONDS, 3)>;
		zephyr,input-positive = <NRF_SAADC_AIN5>;
		zephyr,vref-mv = <825>;
		zephyr,resolution = <12>;
	};

	channel@4 {
		reg = <4>;
		zephyr,gain = "ADC_GAIN_1_2";
		zephyr,reference = "ADC_REF_VDD_1_4";
		zephyr,acquisition-time = <ADC_ACQ_TIME(ADC_ACQ_TIME_MICROSECONDS, 3)>;
		zephyr,input-positive = <NRF_SAADC_AIN6>;
		zephyr,vref-mv = <825>;
		zephyr,resolution = <12>;
	};

	channel@5 {
		reg = <5>;
		zephyr,gain = "ADC_GAIN_1_2";
		zephyr,reference = "ADC_REF_VDD_1_4";
		zephyr,acquisition-time = <ADC_ACQ_TIME(ADC_ACQ_TIME_MICROSECONDS, 3)>;
		zephyr,input-positive = <NRF_SAADC_AIN0>;
		zephyr,vref-mv = <825>;
		zephyr,resolution = <12>;
	};

	channel@6 {
		reg = <6>;
		zephyr,gain = "ADC_GAIN_1_6";
		zephyr,reference = "ADC_REF_INTERNAL";
		zephyr,acquisition-time = <ADC_ACQ_TIME(ADC_ACQ_TIME_MICROSECONDS, 40)>;
		zephyr,input-positive = <NRF_SAADC_AIN3>;
		zephyr,vref-mv = <600>;
		zephyr,resolution = <12>;
	};
};

&gpiote {
	status = "okay";
};

&i2s0 {
	status = "okay";
	pinctrl-0 = <&i2s0_default>;
	pinctrl-1 = <&i2s0_sleep>;
	pinctrl-names = "default", "sleep";
};

&gpio0 {
	status = "okay";
	sense-edge-mask = <0x00801400>;
};

&gpio1 {
	status = "okay";
	sense-edge-mask = <0x00000050>;
};

&uart0 {
	compatible = "nordic,nrf-uarte";
	status = "okay";
	current-speed = <115200>;
	pinctrl-0 = <&uart0_default>;
	pinctrl-1 = <&uart0_sleep>;
	pinctrl-names = "default", "sleep";
};

&i2c0 {
	compatible = "nordic,nrf-twim";
	status = "okay";
	clock-frequency = <I2C_BITRATE_FAST>;
	pinctrl-0 = <&i2c0_default>;
	pinctrl-1 = <&i2c0_sleep>;
	pinctrl-names = "default", "sleep";

	imu: lsm6dsv16x@6a {
		compatible = "st,lsm6dsv16x";
		reg = <0x6a>;
		accel-range = <LSM6DSV16X_DT_FS_4G>; /* +-4 g: accelerometer gestures (v51.8); the report keeps +-2 g */
		/* 2 kHz in the sensor; app/src/imu.c reads gyro+accel from the output
		 * registers once per USB frame. The FIFO carries only the SFLP words. */
		accel-odr = <LSM6DSVXXX_DT_ODR_HA01_AT_2000Hz>;
		gyro-range = <LSM6DSV16X_DT_FS_2000DPS>;
		gyro-odr = <LSM6DSVXXX_DT_ODR_HA01_AT_2000Hz>;
		fifo-watermark = <2>;
		accel-fifo-batch-rate = <LSM6DSVXXX_DT_XL_NOT_BATCHED>;
		gyro-fifo-batch-rate = <LSM6DSVXXX_DT_GY_NOT_BATCHED>;
		sflp-odr = <LSM6DSVXXX_DT_SFLP_ODR_AT_30Hz>; /* fewer FIFO reads competing with the 1 kHz gyro reads on the bus */
		sflp-fifo-enable = <LSM6DSVXXX_DT_SFLP_FIFO_GAME_ROTATION_GBIAS>;
		int1-gpios = <&gpio0 7 GPIO_ACTIVE_HIGH>;
		drdy-pin = <1>;
		status = "okay";
	};

	mp2733: charger@4b {
		compatible = "monolithicpower,mp2733";
		reg = <0x4b>;
		status = "okay";
	};
};

&i2c1 {
	compatible = "nordic,nrf-twim";
	status = "okay";
	clock-frequency = <I2C_BITRATE_FAST>;
	pinctrl-0 = <&i2c1_default>;
	pinctrl-1 = <&i2c1_sleep>;
	pinctrl-names = "default", "sleep";

	greenpak: gpio@10 {
		compatible = "valve,slg4l48185-gpio";
		reg = <0x10>;
		gpio-controller;
		#gpio-cells = <2>;
		ngpios = <16>;
		gpio-reserved-ranges = <0 1>;
		int-gpios = <&gpio1 7 GPIO_ACTIVE_HIGH>;
		input-selector = <0xf0>;
		poll-interval-ms = <20>;
		status = "okay";
	};

	olympus: touch-controller@2c {
		compatible = "valve,olympus";
		reg = <0x2c>;
		int-gpios = <&gpio0 6 GPIO_ACTIVE_LOW>;
		reset-gpios = <&gpio0 15 GPIO_ACTIVE_HIGH>;
		status = "okay";
	};
};

&flash0 {
	partitions {
		compatible = "fixed-partitions";
		#address-cells = <1>;
		#size-cells = <1>;

		/*
		 * Valve's bootloader occupies 0x00000-0x07fff and stores
		 * the application header at 0x7cfe0-0x7cfff.
		 */
		/* sc26re v51: storage doubled to 32 KiB (remapper profiles); the old
		 * 16 KiB area (0x78000) is the upper half of the new one, so a backup
		 * of it is restored at offset 0x4000 and NVS finds it there */
		application_partition: partition@8000 {
			label = "application";
			reg = <0x00008000 0x0006c000>;
		};

		storage_partition: partition@74000 {
			label = "storage";
			reg = <0x00074000 0x00008000>;
		};

		valve_app_header: partition@7c000 {
			label = "valve-app-header";
			reg = <0x0007c000 0x00001000>;
		};

		valve_storage: partition@7d000 {
			label = "valve-storage";
			reg = <0x0007d000 0x00003000>;
		};
	};
};

&pwm1 {
	status = "okay";
	pinctrl-0 = <&pwm1_default>;
	pinctrl-1 = <&pwm1_sleep>;
	pinctrl-names = "default", "sleep";
};

zephyr_udc0: &usbd {
	compatible = "nordic,nrf-usbd";
	status = "okay";

	cdc_acm_uart0: cdc_acm_uart0 {
		compatible = "zephyr,cdc-acm-uart";
	};
};
```

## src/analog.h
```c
/* SPDX-License-Identifier: AGPL-3.0-or-later */
#pragma once

#include <stdbool.h>
#include <stdint.h>

#include "controller.h"

int analog_init(void);
int analog_puck_pilot_present(bool *present);
int analog_battery_voltage_samples_mv(uint16_t *samples, size_t sample_count);
int analog_read_report(struct controller_report *report);

/* OFW 6AE90BC5 ID_CALIBRATE_ANALOG_TRIGGERS (0xC0) step calibration:
 * 0 = cancel, 1 = start (triggers released), 2 = triggers fully pressed, 3 = save. */
int analog_trigger_step_cal(uint8_t stage);
/* report meter: re-centre both sticks from their current resting position */
int analog_zero_sticks(void);
/* full stick calibration: "start" (hands off, then turn both sticks round), "finish" (save), "cancel" */
int analog_stick_cal(const char *op);
/* its state, 32 bytes (sc26re/stick_cal) */
void analog_stick_cal_state(uint8_t *out);
/* a trigger is pressed beyond 5 % (processed value, any trigger_mode) */
bool analog_triggers_active(void);
struct controller_report;
void analog_trigger_debug_quat(struct controller_report *report);
```

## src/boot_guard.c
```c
/* SPDX-License-Identifier: AGPL-3.0-or-later */
#include "boot_guard.h"

#include <zephyr/kernel.h>
#include <zephyr/logging/log.h>
#include <zephyr/sys/reboot.h>

#include "power.h"
#include "watchdog.h"

LOG_MODULE_REGISTER(boot_guard, LOG_LEVEL_INF);

/* Retained word next to the OFW-compatible continue-wireless magic (0x2001ffd4): outside
 * Zephyr RAM and not used by the Valve bootloader. */
#define BOOT_GUARD_WORD (*(volatile uint32_t *)0x2001ffc8u)
#define BOOT_GUARD_MAGIC 0xb0070000u
#define BOOT_GUARD_MAGIC_MASK 0xffff0000u
#define BOOT_GUARD_FATAL_FLAG 0x100u
#define BOOT_GUARD_FEED_MS 1000
#define BOOT_GUARD_MAX_FEED_MS 30000
#define BOOT_GUARD_STABLE_MS 10000
#define BOOT_GUARD_SAFE_ATTEMPTS 3U
#define BOOT_GUARD_GIVE_UP_ATTEMPTS 5U

static uint8_t attempts;
static int64_t loop_since_ms = -1;
static bool cleared;

static void boot_guard_feed(struct k_timer *timer)
{
	if(k_uptime_get() > BOOT_GUARD_MAX_FEED_MS)
	{
		/* something is really stuck: let the watchdog reset it */
		k_timer_stop(timer);
		return;
	}
	watchdog_feed();
}

static K_TIMER_DEFINE(boot_guard_timer, boot_guard_feed, NULL);

static void boot_guard_store(uint8_t count)
{
	BOOT_GUARD_WORD = count == 0U ? 0U : (BOOT_GUARD_MAGIC | count);
}

void boot_guard_begin(void)
{
	uint32_t word = BOOT_GUARD_WORD;
	bool valid = (word & BOOT_GUARD_MAGIC_MASK) == BOOT_GUARD_MAGIC;
	/* only a hang (watchdog), a lockup or our own retry reboot count as a failed boot;
	 * power-on, Steam-button wake and normal reboots start the count over */
	bool failed = (power_boot_reset_reason() &
	               (POWER_RESETREAS_DOG_Msk | POWER_RESETREAS_LOCKUP_Msk)) != 0U ||
	              (valid && (word & BOOT_GUARD_FATAL_FLAG) != 0U);

	attempts = valid && failed ? (uint8_t)(word & 0xffU) : 0U;
	if(attempts < UINT8_MAX)
	{
		attempts++;
	}
	boot_guard_store(attempts);
	watchdog_feed();
	k_timer_start(&boot_guard_timer, K_MSEC(BOOT_GUARD_FEED_MS), K_MSEC(BOOT_GUARD_FEED_MS));
	if(attempts > 1U)
	{
		LOG_WRN("boot attempt %u without a stable start before", attempts);
	}
}

uint8_t boot_guard_attempts(void)
{
	return attempts;
}

bool boot_guard_safe_mode(void)
{
	return attempts >= BOOT_GUARD_SAFE_ATTEMPTS;
}

void boot_guard_loop(void)
{
	int64_t now;

	if(cleared)
	{
		return;
	}
	now = k_uptime_get();
	if(loop_since_ms < 0)
	{
		/* main loop reached: it feeds the watchdog itself from here on */
		loop_since_ms = now;
		k_timer_stop(&boot_guard_timer);
		return;
	}
	if(now - loop_since_ms >= BOOT_GUARD_STABLE_MS)
	{
		cleared = true;
		boot_guard_store(0U);
	}
}

void boot_guard_fatal(const char *stage, int err)
{
	LOG_ERR("%s failed: %d (boot attempt %u)", stage, err, attempts);
	if(attempts < BOOT_GUARD_GIVE_UP_ATTEMPTS)
	{
		BOOT_GUARD_WORD = BOOT_GUARD_MAGIC | BOOT_GUARD_FATAL_FLAG | attempts;
		k_msleep(100);
		sys_reboot(SYS_REBOOT_COLD);
	}
	/* give up without looping: clean power-off; the next Steam press starts fresh */
	boot_guard_store(0U);
	power_off_quiet();
	for(;;)
	{
		k_msleep(500);
		watchdog_feed();
	}
}
```

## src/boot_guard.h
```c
/* SPDX-License-Identifier: AGPL-3.0-or-later */
#pragma once

#include <stdbool.h>
#include <stdint.h>

/*
 * Startup safeguard.
 *  - Keeps the bootloader-armed watchdog (5 s) fed while main() initialises, so a slow
 *    first boot after flashing (settings migration, USB enumeration) cannot reset-loop.
 *  - Counts boots that never reached a stable main loop (retained RAM, survives resets).
 *  - Init failures no longer return from main() (which starved the watchdog and looped
 *    the controller with the boot LED blinking): retry with a reboot, then give up cleanly.
 */
void boot_guard_begin(void);
/* boots in a row that did not stay up for BOOT_GUARD_STABLE_MS, including this one */
uint8_t boot_guard_attempts(void);
bool boot_guard_safe_mode(void);
/* call every main-loop iteration */
void boot_guard_loop(void);
/* a required init step failed: reboot to retry, or power off after too many tries */
void boot_guard_fatal(const char *stage, int err);
```

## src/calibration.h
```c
/* SPDX-License-Identifier: AGPL-3.0-or-later */
#pragma once

#include <stdbool.h>
#include <stddef.h>
#include <stdint.h>

enum calibration_side
{
	CALIBRATION_LEFT,
	CALIBRATION_RIGHT,
};

struct trigger_calibration
{
	uint16_t type;
	uint16_t pressed;
	uint16_t idle;
	uint8_t inverted;
} __packed;

struct stick_calibration
{
	uint16_t type;
	uint16_t x_min;
	uint16_t x_max;
	uint16_t x_center_min;
	uint16_t x_center_max;
	uint16_t y_min;
	uint16_t y_max;
	uint16_t y_center_min;
	uint16_t y_center_max;
} __packed;

struct pressure_calibration
{
	uint16_t mode;
	int16_t min;
	int16_t max;
	uint16_t pressure_scale;
} __packed;

struct analog_calibration_snapshot
{
	struct trigger_calibration trigger_left;
	struct trigger_calibration trigger_right;
	struct stick_calibration stick_left;
	struct stick_calibration stick_right;
};

bool calibration_trigger_valid(const struct trigger_calibration *cal);
bool calibration_stick_valid(const struct stick_calibration *cal);
bool calibration_pressure_valid(const struct pressure_calibration *cal);
bool calibration_trigger_loaded(enum calibration_side side);
bool calibration_stick_loaded(enum calibration_side side);
bool calibration_pressure_loaded(enum calibration_side side);
void calibration_analog_snapshot(struct analog_calibration_snapshot *snapshot);
bool calibration_pressure_snapshot(enum calibration_side side,
                                   struct pressure_calibration *snapshot);
bool calibration_battery_voltage_offset_loaded(void);
int16_t calibration_battery_voltage_offset_mv(void);
int calibration_load_settings(void);
int calibration_import_imu_from_valve_storage(void);
int calibration_import_valve_storage(void);
bool calibration_read_trigger(enum calibration_side side, uint8_t *buf, size_t capacity,
                              size_t *len);
int calibration_stage_trigger(enum calibration_side side, const uint8_t *value, size_t len);
int calibration_commit_trigger(enum calibration_side side);
/* replace a stick calibration in RAM and save it (cal/joy_l / cal/joy_r) */
int calibration_set_stick(enum calibration_side side, const struct stick_calibration *cal);
bool calibration_read_pressure(enum calibration_side side, uint8_t *buf, size_t capacity,
                               size_t *len);
int calibration_stage_pressure(enum calibration_side side, const uint8_t *value, size_t len);
int calibration_commit_pressure(enum calibration_side side);
```

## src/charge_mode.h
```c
/* SPDX-License-Identifier: AGPL-3.0-or-later */

#pragma once

#include <stddef.h>
#include <stdint.h>
#include <stdbool.h>
#include "rgbw_led.h"

enum charge_mode_result
{
	CHARGE_MODE_SKIPPED,
	CHARGE_MODE_USB_CONFIGURED,
	CHARGE_MODE_POWER_ON_RADIO,
};

enum charge_mode_result charge_mode_run_if_needed(void);
/* main loop, every pass: activity = any input this pass (see charge_mode.c) */
void charge_mode_boot_poll(bool activity);
void charge_mode_dock_led_poll(void);
bool charge_mode_dock_led_active(void);
void charge_mode_dock_debug(uint8_t out[5]);
/* diagnosis: [0] samples, [1] decision time x10 ms, then 4-bit samples every 200 ms */
size_t charge_mode_boot_trace(uint8_t *out, size_t cap);
/* diagnosis: Steam held right after the hardware came up */
void charge_mode_note_boot_buttons(void);
/* the LED colour under the Puck's charge light: read it, or change it (shown once lifted).
 * Outside the Puck they act on the LED directly (v51.4 test 23). */
struct rgbw_color charge_mode_led_base_get(void);
void charge_mode_led_base_set(struct rgbw_color c);
```

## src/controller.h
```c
/* SPDX-License-Identifier: AGPL-3.0-or-later */
#pragma once

#include <stdbool.h>
#include <stddef.h>
#include <stdint.h>

struct valve_esb_backend_debug;

enum controller_button
{
	CONTROLLER_BUTTON_A = 0,
	CONTROLLER_BUTTON_B = 1,
	CONTROLLER_BUTTON_X = 2,
	CONTROLLER_BUTTON_Y = 3,
	CONTROLLER_BUTTON_QAM = 4,
	CONTROLLER_BUTTON_RIGHT_STICK = 5,
	CONTROLLER_BUTTON_MENU = 6, /* the right one (three lines); bit 6 of the state report */
	CONTROLLER_BUTTON_RIGHT_PADDLE1 = 7,
	CONTROLLER_BUTTON_RIGHT_PADDLE2 = 8,
	CONTROLLER_BUTTON_RIGHT_SHOULDER = 9,
	CONTROLLER_BUTTON_DPAD_DOWN = 10,
	CONTROLLER_BUTTON_DPAD_RIGHT = 11,
	CONTROLLER_BUTTON_DPAD_LEFT = 12,
	CONTROLLER_BUTTON_DPAD_UP = 13,
	CONTROLLER_BUTTON_VIEW = 14, /* the left one (two squares) */
	CONTROLLER_BUTTON_LEFT_STICK = 15,
	CONTROLLER_BUTTON_STEAM = 16,
	CONTROLLER_BUTTON_LEFT_PADDLE1 = 17,
	CONTROLLER_BUTTON_LEFT_PADDLE2 = 18,
	CONTROLLER_BUTTON_LEFT_SHOULDER = 19,
	CONTROLLER_BUTTON_RIGHT_STICK_TOUCH = 20,
	CONTROLLER_BUTTON_RIGHT_TOUCHPAD_TOUCH = 21,
	CONTROLLER_BUTTON_RIGHT_TOUCHPAD_CLICK = 22,
	CONTROLLER_BUTTON_RIGHT_TRIGGER_CLICK = 23,
	CONTROLLER_BUTTON_LEFT_STICK_TOUCH = 24,
	CONTROLLER_BUTTON_LEFT_TOUCHPAD_TOUCH = 25,
	CONTROLLER_BUTTON_LEFT_TOUCHPAD_CLICK = 26,
	CONTROLLER_BUTTON_LEFT_TRIGGER_CLICK = 27,
	CONTROLLER_BUTTON_RIGHT_GRIP_TOUCH = 28,
	CONTROLLER_BUTTON_LEFT_GRIP_TOUCH = 29,
};

struct controller_report
{
	uint32_t buttons;
	int16_t trigger_left;
	int16_t trigger_right;
	int16_t stick_left_x;
	int16_t stick_left_y;
	int16_t stick_right_x;
	int16_t stick_right_y;
	int16_t touchpad_left_x;
	int16_t touchpad_left_y;
	uint16_t touchpad_left_pressure;
	int16_t touchpad_right_x;
	int16_t touchpad_right_y;
	uint16_t touchpad_right_pressure;
	int16_t accel_x;
	int16_t accel_y;
	int16_t accel_z;
	int16_t gyro_x;
	int16_t gyro_y;
	int16_t gyro_z;
	int16_t gyro_quat_w;
	int16_t gyro_quat_x;
	int16_t gyro_quat_y;
	int16_t gyro_quat_z;
	uint32_t imu_timestamp_us;
} __packed;

enum controller_charge_state
{
	CONTROLLER_CHARGE_STATE_RESET = 0,
	CONTROLLER_CHARGE_STATE_DISCHARGING = 1,
	CONTROLLER_CHARGE_STATE_CHARGING = 2,
	CONTROLLER_CHARGE_STATE_SOURCE_VALIDATE = 3,
	CONTROLLER_CHARGE_STATE_CHARGING_DONE = 4,
};

struct controller_battery_report
{
	uint8_t charge_state;
	uint8_t level_percent;
	uint16_t battery_mv;
	uint16_t system_mv;
	uint16_t input_mv;
	uint16_t current_ma;
	uint16_t input_current_ma;
	uint16_t temperature_mc;
	int32_t temperature_estimate_mc;
	uint16_t charger_battery_mv;
	uint16_t source_rating_ma;
	uint16_t requested_input_limit_ma;
	uint16_t effective_input_limit_ma;
	uint16_t requested_vbat_target_mv;
	uint16_t requested_vin_min_mv;
	uint16_t observed_vin_min_mv;
	uint32_t sample_age_ms;
	uint8_t charger_type;
	uint8_t status_flags;
	uint8_t ntc_raw;
	uint8_t current_raw;
	uint8_t fuel_gauge_state;
	uint8_t fault_status;
	uint8_t power_status;
	uint8_t reg17_status;
	bool charge_complete;
	bool valid;
} __packed;

enum radio_personality
{
	RADIO_PERSONALITY_BLE,
	RADIO_PERSONALITY_ESB,
};

int hardware_init(void);
void hardware_read_report(struct controller_report *report);
void hardware_wait_for_change(void);
void hardware_signal_input_changed(void);
/* latest full state built by the report loop (the IMU thread sends it with each new sample) */
void hardware_store_state(const struct controller_report *report);
bool hardware_load_state(struct controller_report *report);
uint32_t hardware_read_buttons(void);
bool hardware_pairing_chord_pressed(void);
/* GPREGRET[1] value: open the Bluetooth pairing window after the next reboot */
#define HARDWARE_PAIRING_GPREGRET 0xB1U
void hardware_haptic_pulse(void);
int hardware_haptic_tone(uint32_t frequency_hz, uint32_t duration_ms);

int transport_init(void);
int transport_send(const struct controller_report *report);
int transport_send_battery_status(const struct controller_battery_report *report);
int transport_send_input_report(uint8_t report_id, const uint8_t *data, size_t len);
/* ms since every mouse / keyboard report left the radio queue (INT32_MAX on USB) */
int32_t transport_input_idle_ms(void);
uint8_t transport_link_kind(void);
int32_t transport_esb_input_idle_ms(void);
/* mouse / keyboard reports still waiting in the radio queue, where a new mouse report
 * may merge into one of them (ESB); 0 where nothing merges (USB, Bluetooth) */
int transport_input_queued(void);
int transport_esb_input_queued(void);
int32_t transport_ble_input_idle_ms(void);
void transport_radio_deactivate(void);

enum transport_usb_radio_mode
{
	TRANSPORT_USB_RADIO_OFF,
	TRANSPORT_USB_RADIO_VBUS_CHARGE,
	TRANSPORT_USB_RADIO_DIAGNOSTIC,
};

#define TRANSPORT_BLE_ID_ALL UINT8_MAX
int transport_ble_init(void);
int transport_ble_send(const struct controller_report *report);
int transport_ble_send_battery_status(const struct controller_battery_report *report);
int transport_ble_send_input_report(uint8_t report_id, const uint8_t *data, size_t len);
void transport_ble_deactivate(void);
int transport_ble_clear_bonds(uint8_t id);
bool transport_ble_connected(void);
bool transport_ble_pairing_window_open(void);

bool transport_usb_attached(void);
void transport_usb_feature_debug(uint8_t out[28]);
bool transport_usb_configured(void);
int transport_set_usb_radio_mode(enum transport_usb_radio_mode mode);
bool transport_usb_radio_allowed(void);
const char *transport_usb_radio_mode_name(void);
void transport_enter_usb_mode(void);
int transport_usb_init(void);
int transport_usb_send(const struct controller_report *report);
/* USB host attached and state reports go to it (not the diagnostic radio mode) */
bool transport_usb_state_reports_allowed(void);
int transport_usb_send_battery_status(const struct controller_battery_report *report);
int transport_usb_send_input_report(uint8_t report_id, const uint8_t *data, size_t len);

int transport_esb_init(void);
int transport_esb_send(const struct controller_report *report);
int transport_esb_send_battery_status(const struct controller_battery_report *report);
int transport_esb_send_input_report(uint8_t report_id, const uint8_t *data, size_t len);
void transport_esb_deactivate(void);
bool transport_esb_connected(void);
uint8_t transport_esb_channel(void);
uint32_t transport_esb_host_frames_received(void);
uint32_t transport_esb_channel_maps_received(void);
uint32_t transport_esb_awake_frames_received(void);
uint32_t transport_esb_polls_received(void);
uint32_t transport_esb_replies_sent(void);
uint32_t transport_esb_backend_end_events(void);
uint32_t transport_esb_backend_crc_ok_events(void);
uint32_t transport_esb_backend_crc_bad_events(void);
uint32_t transport_esb_backend_rx_dropped_events(void);
/* reports replaced by a newer one before the Puck took them / dropped on a full queue */
uint32_t transport_esb_tx_replaced(void);
uint32_t transport_esb_tx_full_drops(void);
bool transport_esb_bond_loaded(void);
int transport_esb_provision_bond(uint8_t slot, uint32_t proteus_uuid, uint32_t ibex_uuid,
                                 const char *serial);
int transport_esb_get_debug(struct valve_esb_backend_debug *debug);

void radio_personality_init(void);
enum radio_personality radio_personality_get(void);
const char *radio_personality_name(void);
void radio_personality_reboot_into(enum radio_personality personality);
void radio_personality_reboot_into_after(enum radio_personality personality, uint32_t delay_ms);
void radio_personality_remember(enum radio_personality personality);
void radio_personality_persist_after(enum radio_personality personality, uint32_t delay_ms);
void radio_personality_cancel_pending_persist(void);
```
